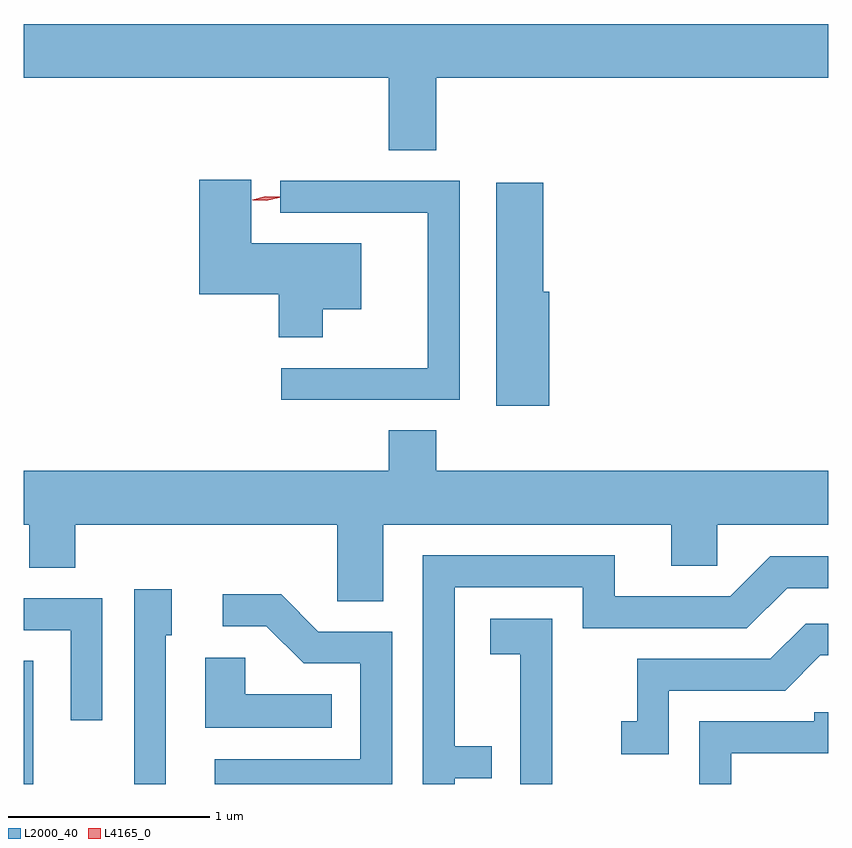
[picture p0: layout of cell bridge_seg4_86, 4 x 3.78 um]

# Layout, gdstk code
import gdstk
lib = gdstk.Library(unit=1e-6, precision=1e-09)
def R(c, l, rs):  # rectangles x0, y0, x1, y1
    for r in rs: c.add(gdstk.rectangle(r[:2], r[2:], *l))
def P(c, l, *ps):  # polygons
    for p in ps: c.add(gdstk.Polygon(p, *l))
L2000_40 = (2000, 40)
L4165_0 = (4165, 0)

bridge_seg4_86 = lib.new_cell('bridge_seg4_86')
R(bridge_seg4_86, L2000_40, [(1059.842,1382.247,1059.889,1382.859)])
P(bridge_seg4_86, L2000_40, [(1061.894,1385.756),(1063.842,1385.756),(1063.842,1386.024),(1059.842,1386.024),(1059.842,1385.756),(1061.656,1385.756),(1061.656,1385.396),(1061.894,1385.396)],
  [(1061.329,1384.606),(1061.519,1384.606),(1061.519,1384.934),(1060.974,1384.934),(1060.974,1385.249),(1060.716,1385.249),(1060.716,1384.681),(1061.111,1384.681),(1061.111,1384.466),(1061.329,1384.466)],
  [(1062.009,1385.244),(1061.118,1385.244),(1061.118,1385.086),(1061.851,1385.086),(1061.851,1384.314),(1061.123,1384.314),(1061.123,1384.156),(1062.009,1384.156)],
  [(1062.454,1384.694),(1062.424,1384.694),(1062.424,1385.234),(1062.191,1385.234),(1062.191,1384.126),(1062.454,1384.126)],
  [(1061.629,1383.536),(1063.061,1383.536),(1063.061,1383.331),(1063.289,1383.331),(1063.289,1383.536),(1063.842,1383.536),(1063.842,1383.804),(1061.894,1383.804),(1061.894,1384.004),(1061.656,1384.004),(1061.656,1383.804),(1059.842,1383.804),(1059.842,1383.536),(1059.871,1383.536),(1059.871,1383.321),(1060.099,1383.321),(1060.099,1383.536),(1061.401,1383.536),(1061.401,1383.156),(1061.629,1383.156)],
  [(1061.984,1382.276),(1062.168,1382.276),(1062.168,1382.434),(1061.984,1382.434),(1061.984,1383.226),(1062.621,1383.226),(1062.621,1383.021),(1063.437,1383.021),(1063.637,1383.221),(1063.842,1383.221),(1063.842,1383.379),(1063.554,1383.379),(1063.354,1383.179),(1062.779,1383.179),(1062.779,1383.384),(1061.826,1383.384),(1061.826,1382.247),(1061.984,1382.247)],
  [(1060.549,1382.986),(1060.579,1382.986),(1060.579,1383.214),(1060.391,1383.214),(1060.391,1382.247),(1060.549,1382.247)],
  [(1061.674,1383.004),(1061.307,1383.004),(1061.122,1383.189),(1060.833,1383.189),(1060.833,1383.031),(1061.049,1383.031),(1061.234,1382.846),(1061.516,1382.846),(1061.516,1382.369),(1060.793,1382.369),(1060.793,1382.247),(1061.674,1382.247)],
  [(1060.234,1383.169),(1059.842,1383.169),(1059.842,1383.011),(1060.076,1383.011),(1060.076,1382.563),(1060.234,1382.563)],
  [(1062.469,1383.069),(1062.161,1383.069),(1062.161,1382.891),(1062.311,1382.891),(1062.311,1382.247),(1062.469,1382.247)],
  [(1063.049,1382.711),(1063.627,1382.711),(1063.802,1382.886),(1063.842,1382.886),(1063.842,1383.044),(1063.729,1383.044),(1063.554,1382.869),(1062.891,1382.869),(1062.891,1382.559),(1062.813,1382.559),(1062.813,1382.396),(1063.049,1382.396)],
  [(1061.373,1382.694),(1060.944,1382.694),(1060.944,1382.874),(1060.746,1382.874),(1060.746,1382.526),(1061.373,1382.526)],
  [(1063.359,1382.401),(1063.842,1382.401),(1063.842,1382.604),(1063.771,1382.604),(1063.771,1382.559),(1063.201,1382.559),(1063.201,1382.247),(1063.359,1382.247)])
P(bridge_seg4_86, L4165_0, [(1061.048,1385.148),(1060.978,1385.15),(1060.977,1385.151),(1060.978,1385.151),(1061.046,1385.168),(1061.115,1385.165),(1061.116,1385.164),(1061.115,1385.164)],
  [(1061.048,1385.145),(1060.981,1385.147),(1060.981,1385.147),(1060.981,1385.148),(1061.045,1385.164),(1061.112,1385.162),(1061.112,1385.162),(1061.112,1385.161)])

lib.write_gds('bridge_seg4_86.gds')
